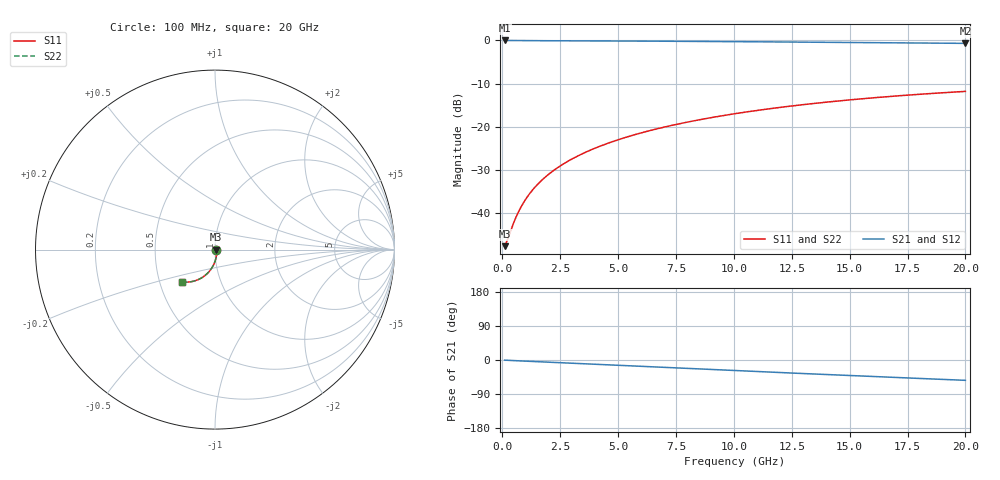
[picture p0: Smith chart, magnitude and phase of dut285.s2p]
! Touchstone file exported from HFSS 2026.1.0
!  File:  C:/ffzhzh/LocalFiles/Ansys_Project_Files/temp_train_BSMRDL_285_1782989169_45328.aedt
!  Generated:  06:47:45 PM Jul  2, 2026
!  Design:  BSMRDL
!  Project:  temp_train_BSMRDL_285_1782989169_45328
! Variables:
!  h_bsmrdl = 2.96um
!  h_ox = 20um
!  h_rdl = 5um
!  h_sub = 80um
!  h_tmrdl = 5um
!  h_tsv = 80um
!  h_via = 3um
!  l_bsmrdl = 903.75um
!  l_sub = 1303.75um
!  l_tmrdl = 200um
!  m_sub = 200um
!  pitch = 30.63um
!  r_tsv = 6um
!  s_tmrdl = 10um
!  w_bsmrdl = 29.07um
!  w_sub = 500um
!  w_tmrdl = 12um
!  x_tsv_center1 = 206um
!  x_tsv_center2 = 1138.82um
!  x_tsv_center3 = 1350.82um
!  x_tsv_center4 = 2283.64um
!  x_tsv_center5 = 2495.64um
!  x_tsv_center6 = 3428.46um
# GHz S MA R 50.000000
! Terminal data exported
! Port[1] = BSM_RDL1_1_T1
! Port[2] = BSM_RDL1_1_T2
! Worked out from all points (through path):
!   200 points, 100 MHz to 20 GHz, reference 50 ohm
!   highest |S21| = -0.04 dB at 100 MHz (marker M1); lowest = -0.7 dB at 20 GHz (marker M2)
!   group delay of S21, straight-line fit = 7.43 ps
!   lowest |S11| = -47.6 dB at 100 MHz (marker M3), VSWR 1.01, Z = 50.4 - j0.0191 ohm
!   |S11| at or under -10 dB: start of sweep to end of sweep
!   |S22| runs from -47.6 to -11.8 dB; largest |S21 - S12| = 3.1e-15
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0.1  0.004184 -2.6  0.9958 -0.4  0.9958 -0.4  0.004184 -2.6
! Gamma 0 0 0 0
! Port Impedance 50 0 50 0
0.2  0.004789 -7.0  0.9952 -0.7  0.9952 -0.7  0.004789 -7.0
0.5  0.007897 -26.9  0.9929 -1.6  0.9929 -1.6  0.007897 -26.9
0.7  0.01042 -38.6  0.9916 -2.2  0.9916 -2.2  0.01042 -38.6
0.8  0.01174 -43.4  0.9911 -2.5  0.9911 -2.5  0.01174 -43.4
1  0.01443 -51.3  0.9903 -3.0  0.9903 -3.0  0.01443 -51.3
1.3  0.01855 -59.9  0.9895 -3.8  0.9895 -3.8  0.01855 -59.9
1.5  0.02132 -64.2  0.9891 -4.4  0.9891 -4.4  0.02132 -64.2
1.7  0.02411 -67.7  0.9887 -4.9  0.9887 -4.9  0.02411 -67.7
2.2  0.03112 -74.3  0.9878 -6.3  0.9878 -6.3  0.03112 -74.3
2.8  0.03958 -79.7  0.9867 -8.0  0.9867 -8.0  0.03958 -79.7
3.5  0.04951 -84.3  0.9854 -10.0  0.9854 -10.0  0.04951 -84.3
4.2  0.05948 -88.0  0.9838 -11.9  0.9838 -11.9  0.05948 -88.0
5  0.07091 -91.5  0.9818 -14.1  0.9818 -14.1  0.07091 -91.5
5.9  0.08378 -95.0  0.9793 -16.6  0.9793 -16.6  0.08378 -95.0
6.8  0.09661 -98.1  0.9765 -19.1  0.9765 -19.1  0.09661 -98.1
8.4  0.1192 -103.3  0.971 -23.5  0.971 -23.5  0.1192 -103.3
10.1  0.1427 -108.5  0.9646 -28.0  0.9646 -28.0  0.1426 -108.5
11.7  0.164 -113.1  0.9581 -32.3  0.9581 -32.3  0.164 -113.1
13.4  0.1856 -117.9  0.9509 -36.8  0.9509 -36.8  0.1856 -117.9
16.7  0.2241 -126.9  0.9363 -45.3  0.9363 -45.3  0.2241 -126.9
20  0.2569 -135.5  0.9218 -53.6  0.9218 -53.6  0.2568 -135.5
